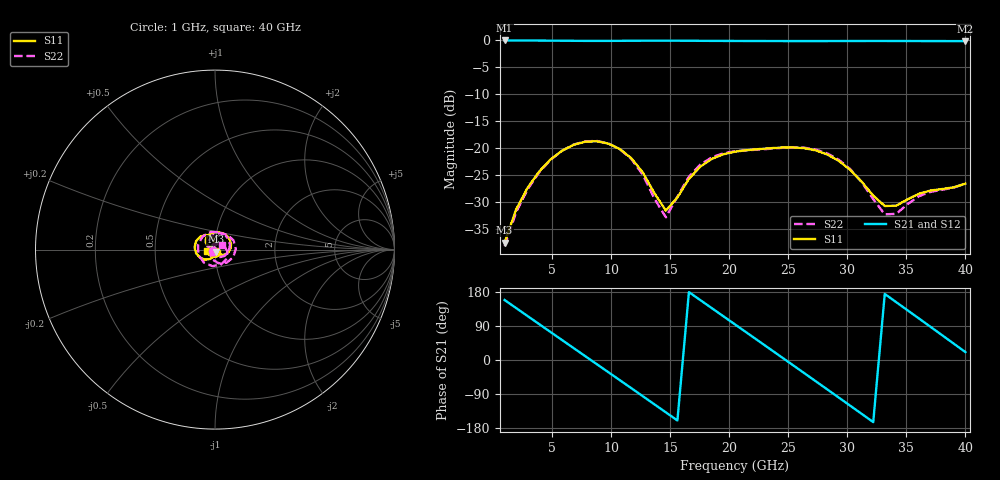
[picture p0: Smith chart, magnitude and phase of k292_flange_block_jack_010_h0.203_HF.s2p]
! Generated by Hertzon (EMerge FEM)
# HZ S RI R 50.8094
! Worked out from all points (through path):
!   41 points, 1 GHz to 40 GHz, reference 50.8094 ohm
!   highest |S21| = -0.01 dB at 1 GHz (marker M1); lowest = -0.1 dB at 40 GHz (marker M2)
!   lowest |S11| = -37.6 dB at 1 GHz (marker M3), VSWR 1.03, Z = 51.3 - j1.27 ohm
!   |S11| at or under -10 dB: start of sweep to end of sweep
!   |S22| runs from -38.2 to -18.7 dB; largest |S21 - S12| = 0.0028
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1e9  0.00476 -0.0124  -0.9274 0.3697  -0.9271 0.3706  -0.0101 -0.00697
3.925e9  -0.0292 -0.0531  -0.0813 0.9924  -0.08 0.9924  -0.0367 0.0467
5.875e9  -0.083 -0.0454  0.6061 0.7857  0.6071 0.7849  0.0232 0.0917
7.825e9  -0.1139 0.0117  0.974 0.1741  0.9743 0.1729  0.1033 0.0513
9.775e9  -0.0837 0.0713  0.8385 -0.525  0.8379 -0.5261  0.1019 -0.0426
1.1725e10  -0.0253 0.0763  0.2671 -0.955  0.2658 -0.9553  0.0204 -0.0763
1.27e10  -0.00744 0.0588  -0.0972 -0.9881  -0.0985 -0.9878  -0.0153 -0.0544
1.465e10  -0.0135 0.0224  -0.7409 -0.6619  -0.7418 -0.6609  -0.0161 0.0161
1.66e10  -0.0447 0.0258  -0.9917 0.0149  -0.9917 0.0165  0.0494 0.0222
1.7575e10  -0.0527 0.0418  -0.9173 0.3738  -0.9168 0.3753  0.0697 -0.00978
2.05e10  -0.0261 0.0888  -0.0672 0.9853  -0.0658 0.9854  -0.0141 -0.0923
2.245e10  0.00959 0.0971  0.618 0.769  0.6192 0.768  -0.0922 -0.0288
2.44e10  0.048 0.0889  0.9749 0.1447  0.9751 0.1429  -0.069 0.0728
2.5375e10  0.0668 0.0763  0.9601 -0.2212  0.9596 -0.223  -0.0233 0.0988
2.7325e10  0.0895 0.0323  0.5526 -0.8156  0.551 -0.8167  0.0661 0.0708
2.9275e10  0.0747 -0.0148  -0.1533 -0.974  -0.1553 -0.9738  0.0775 -0.00862
3.025e10  0.0565 -0.0272  -0.5016 -0.8496  -0.5034 -0.8487  0.053 -0.0354
3.22e10  0.0266 -0.0245  -0.9488 -0.2734  -0.9493 -0.2712  -0.00597 -0.033
3.415e10  0.0242 -0.0163  -0.8756 0.4552  -0.8745 0.4572  -0.0219 0.0109
3.61e10  0.0213 -0.0312  -0.3184 0.9328  -0.3161 0.9337  0.00249 0.0357
3.7075e10  0.00792 -0.0395  0.0526 0.9838  0.0552 0.9838  0.0157 0.0359
4e10  -0.0463 -0.00593  0.9193 0.3501  0.9204 0.3475  0.0393 0.0256
